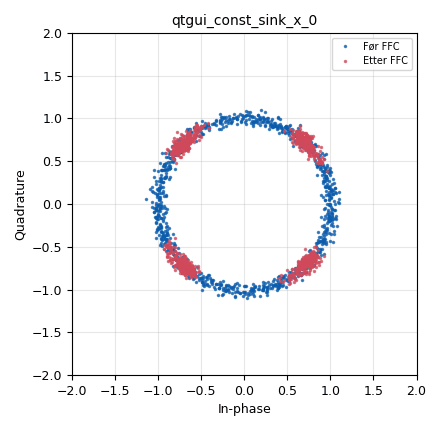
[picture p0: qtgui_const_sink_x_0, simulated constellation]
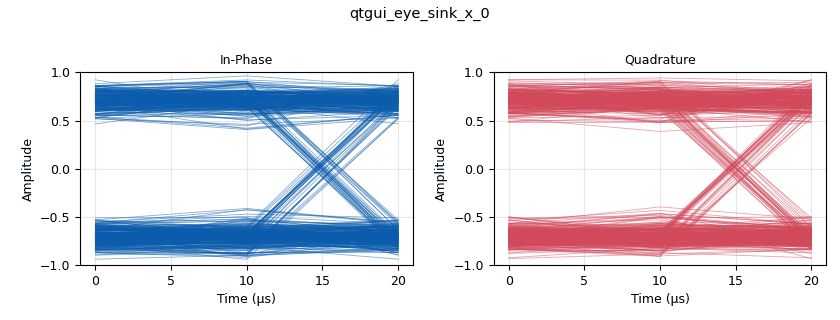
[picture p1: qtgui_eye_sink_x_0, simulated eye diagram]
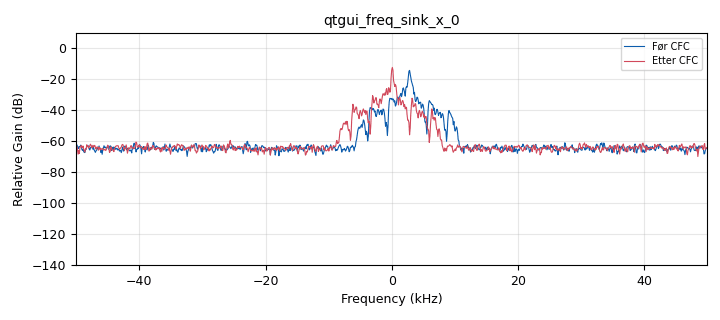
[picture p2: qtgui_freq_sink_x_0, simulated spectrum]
options:
  parameters:
    generate_options: qt_gui
    id: Pluto
    output_language: python
    title: Pluto
  states: {}

blocks:
- name: QPSK
  id: variable_constellation_rect
  parameters:
    const_points: '[0.707+0.707j, -0.707+0.707j, -0.707-0.707j, 0.707-0.707j]'
    imag_sect: '2'
    real_sect: '2'
    rot_sym: '4'
    sym_map: '[0, 1, 2, 3]'
    w_imag_sect: '1'
    w_real_sect: '1'
  states: {}
- name: decimation
  id: variable
  parameters:
    value: '2'
  states: {}
- name: excess_BW
  id: variable
  parameters:
    value: '0.35'
  states: {}
- name: freq_offset
  id: variable_qtgui_range
  parameters:
    label: 'Channel: Frequency Offset'
    start: '-0.1'
    step: '0.001'
    stop: '0.1'
    value: '0.025'
  states: {}
- name: noise_voltage
  id: variable_qtgui_range
  parameters:
    label: 'Channel: Noise Voltage'
    start: '0'
    step: '0.01'
    stop: '0.2'
    value: '0.05'
  states: {}
- name: rrc_taps
  id: variable
  parameters:
    value: firdes.root_raised_cosine(1,samp_rate,samp_rate/sps,excess_BW,11*sps)
  states: {}
- name: samp_rate
  id: variable
  parameters:
    value: 1e5
  states: {}
- name: sps
  id: variable
  parameters:
    value: '8'
  states: {}
- name: timing_offset
  id: variable_qtgui_range
  parameters:
    label: 'Channel: Timing Offset'
    start: '0.999'
    step: '0.0001'
    stop: '1.001'
    value: '1.0005'
  states: {}
- name: BER_sink
  id: qtgui_number_sink
  parameters:
    color1: ("black", "red")
    factor1: '-1'
    graph_type: qtgui.NUM_GRAPH_HORIZ
    label1: BER(x)=10^(-x), x =
    max: '6'
    min: '0'
    name: BER
    type: float
  states: {}
- name: analog_random_source_x_0
  id: analog_random_source_x
  parameters:
    max: '2'
    min: '0'
    num_samps: '32'
    repeat: 'True'
    type: byte
  states: {}
- name: blocks_stream_mux_0
  id: blocks_stream_mux
  parameters:
    lengths: (11,32)
    type: byte
  states: {}
- name: blocks_throttle2_0
  id: blocks_throttle2
  parameters:
    samples_per_second: samp_rate
    type: complex
  states: {}
- name: blocks_vector_source_x_0
  id: blocks_vector_source_x
  parameters:
    repeat: 'True'
    type: byte
    vector: (1, 1, 1, 0, 0, 0, 1, 0, 0, 1, 0)
  states: {}
- name: channels_channel_model_0
  id: channels_channel_model
  parameters:
    epsilon: timing_offset
    freq_offset: freq_offset
    noise_voltage: noise_voltage
    seed: '0'
    taps: '1.0'
  states: {}
- name: digital_constellation_decoder_cb_0
  id: digital_constellation_decoder_cb
  parameters:
    constellation: QPSK
  states: {}
- name: digital_constellation_modulator_0
  id: digital_constellation_modulator
  parameters:
    constellation: QPSK
    differential: 'True'
    excess_bw: excess_BW
    samples_per_symbol: sps
  states: {}
- name: digital_costas_loop_cc_0
  id: digital_costas_loop_cc
  parameters:
    order: '4'
    w: 2*pi/100
  states: {}
- name: digital_diff_decoder_bb_0
  id: digital_diff_decoder_bb
  parameters:
    coding: digital.DIFF_DIFFERENTIAL
    modulus: '4'
  states: {}
- name: digital_fll_band_edge_cc_0
  id: digital_fll_band_edge_cc
  parameters:
    filter_size: '2'
    rolloff: excess_BW
    samps_per_sym: '8'
    type: cc
    w: 2*pi/100
  states: {}
- name: digital_symbol_sync_xx_0
  id: digital_symbol_sync_xx
  parameters:
    damping: '1.0'
    loop_bw: '0.045'
    max_dev: '1.5'
    osps: '1'
    resamp_type: digital.IR_MMSE_8TAP
    sps: sps
    ted_gain: '1.0'
    ted_type: digital.TED_GARDNER
    type: cc
  states: {state: disabled}
- name: digital_symbol_sync_xx_1
  id: digital_symbol_sync_xx
  parameters:
    damping: '0.7071'
    loop_bw: 2*pi/100
    max_dev: '1.5'
    osps: '1'
    resamp_type: digital.IR_MMSE_8TAP
    sps: sps
    ted_gain: '1'
    ted_type: digital.TED_GARDNER
    type: cc
  states: {}
- name: fec_ber_bf_0
  id: fec_ber_bf
  parameters:
    berlimit: '-20'
    test_mode: 'False'
  states: {}
- name: import_0
  id: import
  parameters:
    imports: from math import pi
  states: {}
- name: qtgui_const_sink_x_0
  id: qtgui_const_sink_x
  parameters:
    color1: '"red"'
    color2: '"blue"'
    label1: Før FFC
    label2: Etter FFC
    nconnections: '2'
    size: '1024'
    type: complex
  states: {}
- name: qtgui_eye_sink_x_0
  id: qtgui_eye_sink_x
  parameters:
    color1: green
    color2: yellow
    label1: In-Phase
    label2: Quadrature
    marker1: '1'
    samp_per_symbol: '1'
    size: '1024'
    srate: samp_rate
    type: complex
  states: {}
- name: qtgui_freq_sink_x_0
  id: qtgui_freq_sink_x
  parameters:
    alpha2: '1'
    average: '0.05'
    bw: samp_rate
    color1: '"red"'
    color2: '"blue"'
    fc: '0'
    fftsize: '1024'
    label1: Før CFC
    label2: Etter CFC
    nconnections: '2'
    type: complex
  states: {}
- name: virtual_sink_0
  id: virtual_sink
  parameters:
    stream_id: Pluto
  states: {}
- name: virtual_sink_0_0
  id: virtual_sink
  parameters:
    stream_id: Tx Bit Source
  states: {}
- name: virtual_sink_0_0_0
  id: virtual_sink
  parameters:
    stream_id: Payload
  states: {}
- name: virtual_sink_0_1
  id: virtual_sink
  parameters:
    stream_id: Rx Bit Source
  states: {}
- name: virtual_source_0
  id: virtual_source
  parameters:
    stream_id: Pluto
  states: {}
- name: virtual_source_0_0
  id: virtual_source
  parameters:
    stream_id: Rx Bit Source
  states: {}
- name: virtual_source_0_0_0
  id: virtual_source
  parameters:
    stream_id: Tx Bit Source
  states: {}

connections:
- [analog_random_source_x_0, '0', blocks_stream_mux_0, '1']
- [analog_random_source_x_0, '0', virtual_sink_0_0_0, '0']
- [blocks_stream_mux_0, '0', digital_constellation_modulator_0, '0']
- [blocks_stream_mux_0, '0', virtual_sink_0_0, '0']
- [blocks_throttle2_0, '0', channels_channel_model_0, '0']
- [blocks_vector_source_x_0, '0', blocks_stream_mux_0, '0']
- [channels_channel_model_0, '0', virtual_sink_0, '0']
- [digital_constellation_decoder_cb_0, '0', digital_diff_decoder_bb_0, '0']
- [digital_constellation_modulator_0, '0', blocks_throttle2_0, '0']
- [digital_costas_loop_cc_0, '0', digital_constellation_decoder_cb_0, '0']
- [digital_costas_loop_cc_0, '0', qtgui_const_sink_x_0, '1']
- [digital_costas_loop_cc_0, '0', qtgui_eye_sink_x_0, '0']
- [digital_diff_decoder_bb_0, '0', virtual_sink_0_1, '0']
- [digital_fll_band_edge_cc_0, '0', digital_symbol_sync_xx_1, '0']
- [digital_fll_band_edge_cc_0, '0', qtgui_freq_sink_x_0, '1']
- [digital_symbol_sync_xx_1, '0', digital_costas_loop_cc_0, '0']
- [digital_symbol_sync_xx_1, '0', qtgui_const_sink_x_0, '0']
- [fec_ber_bf_0, '0', BER_sink, '0']
- [virtual_source_0, '0', digital_fll_band_edge_cc_0, '0']
- [virtual_source_0, '0', qtgui_freq_sink_x_0, '0']
- [virtual_source_0_0, '0', fec_ber_bf_0, '1']
- [virtual_source_0_0_0, '0', fec_ber_bf_0, '0']

metadata:
  file_format: 1
  grc_version: 3.10.9.2
